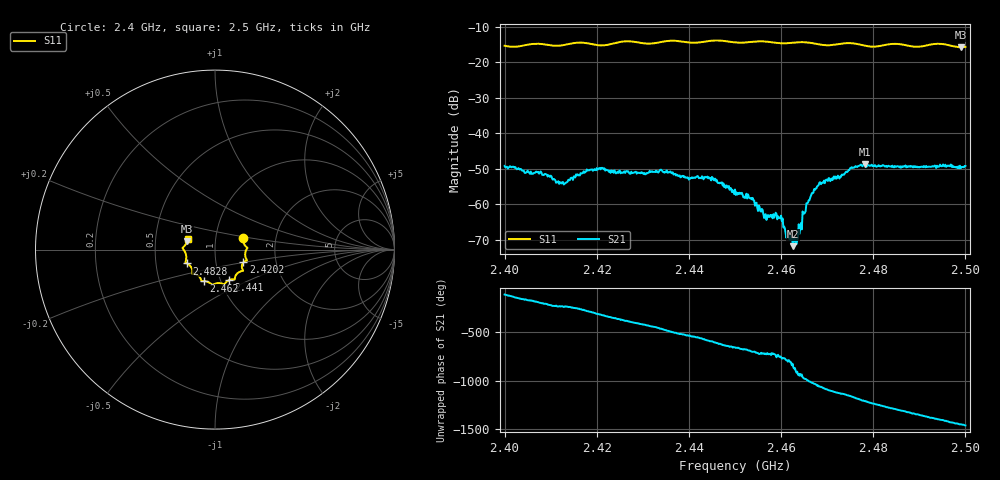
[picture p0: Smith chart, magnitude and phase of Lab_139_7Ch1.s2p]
# Hz S RI R 50
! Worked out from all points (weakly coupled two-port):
!   601 points, 2.4 GHz to 2.5 GHz, reference 50 ohm
!   highest |S21| = -48.77 dB at 2.4782 GHz (marker M1); lowest = -71.8 dB at 2.4627 GHz (marker M2)
!   lowest |S11| = -15.8 dB at 2.499 GHz (marker M3), VSWR 1.39, Z = 36.5 + j3.49 ohm
!   |S11| at or under -10 dB: start of sweep to end of sweep
!   S12 and S22 are empty: the file has one direction only
!   S11 on the Smith chart (normalised r, x): 2.4 GHz: 1.36, +0.18; 2.4202 GHz: 1.36, -0.20; 2.441 GHz: 1.10, -0.39; 2.462 GHz: 0.84, -0.30; 2.4828 GHz: 0.72, -0.11; 2.5 GHz: 0.73, +0.09
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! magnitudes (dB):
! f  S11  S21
! 2.4 GHz  -15.4  -49.3
! 2.4123 GHz  -15.3  -54.2
! 2.4167 GHz  -14.5  -51.3
! 2.4202 GHz  -15.2  -50.3
! 2.4333 GHz  -14.5  -51.1
! 2.441 GHz  -14.6  -52.5
! 2.4455 GHz  -13.9  -53.3
! 2.45 GHz  -14.5  -55.9
! 2.4533 GHz  -14.3  -58.4
! 2.4567 GHz  -14.2  -62.8
! 2.4598 GHz  -14.7  -64.0
! 2.462 GHz  -14.6  -70.0
! 2.4627 GHz  -14.5  -71.8
! 2.4637 GHz  -14.4  -69.0
! 2.4652 GHz  -14.4  -62.4
! 2.4667 GHz  -14.6  -56.9
! 2.4688 GHz  -15.2  -54.0
! 2.4782 GHz  -15.4  -48.8
! 2.4828 GHz  -15.1  -49.2
! 2.4833 GHz  -15.0  -49.2
! 2.499 GHz  -15.8  -49.8
! 2.5 GHz  -15.7  -49.3
